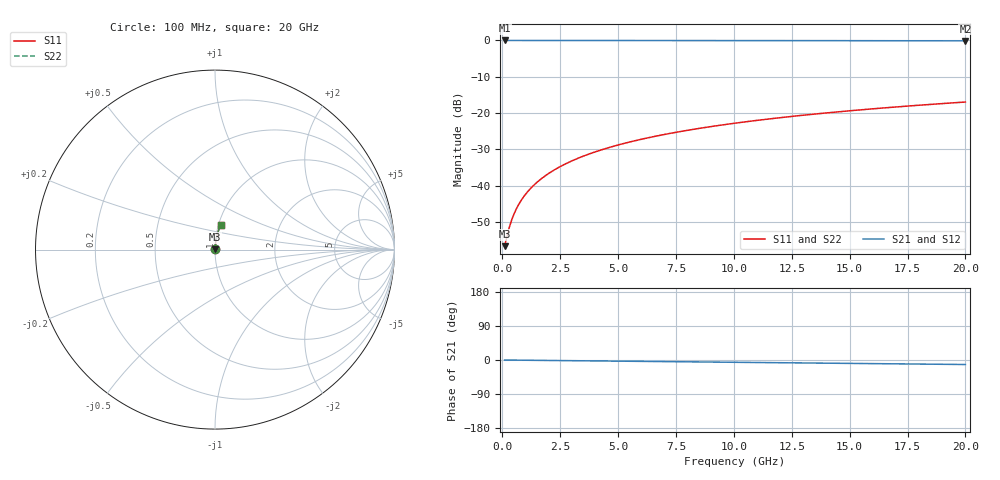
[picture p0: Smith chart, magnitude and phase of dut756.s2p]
! Touchstone file exported from HFSS 2026.1.0
!  File:  C:/ffzhzh/LocalFiles/Ansys_Project_Files/temp_train_BSMRDL_756_1783168971_55132.aedt
!  Generated:  08:44:04 PM Jul  4, 2026
!  Design:  BSMRDL
!  Project:  temp_train_BSMRDL_756_1783168971_55132
! Variables:
!  h_bsmrdl = 2.07um
!  h_ox = 20um
!  h_rdl = 5um
!  h_sub = 80um
!  h_tmrdl = 5um
!  h_tsv = 80um
!  h_via = 3um
!  l_bsmrdl = 108.48um
!  l_sub = 508.48um
!  l_tmrdl = 200um
!  m_sub = 200um
!  pitch = 54.67um
!  r_tsv = 6um
!  s_tmrdl = 10um
!  w_bsmrdl = 22.7um
!  w_sub = 500um
!  w_tmrdl = 12um
!  x_tsv_center1 = 206um
!  x_tsv_center2 = 337.18um
!  x_tsv_center3 = 549.18um
!  x_tsv_center4 = 680.36um
!  x_tsv_center5 = 892.36um
!  x_tsv_center6 = 1023.54um
# GHz S MA R 50.000000
! Terminal data exported
! Port[1] = BSM_RDL1_1_T1
! Port[2] = BSM_RDL1_1_T2
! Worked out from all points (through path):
!   200 points, 100 MHz to 20 GHz, reference 50 ohm
!   highest |S21| = -0.01 dB at 100 MHz (marker M1); lowest = -0.1 dB at 20 GHz (marker M2)
!   group delay of S21, straight-line fit = 1.65 ps
!   lowest |S11| = -56.6 dB at 100 MHz (marker M3), VSWR 1.00, Z = 50.1 + j0.0781 ohm
!   |S11| at or under -10 dB: start of sweep to end of sweep
!   |S22| runs from -56.6 to -16.9 dB; largest |S21 - S12| = 4e-15
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0.1  0.001481 31.7  0.9987 -0.1  0.9987 -0.1  0.001481 31.7
! Gamma 0 0 0 0
! Port Impedance 50 0 50 0
0.2  0.002013 50.5  0.9987 -0.1  0.9987 -0.1  0.002013 50.5
0.3  0.002664 60.5  0.9987 -0.2  0.9987 -0.2  0.002664 60.5
0.4  0.003356 66.2  0.9987 -0.3  0.9987 -0.3  0.003356 66.2
0.5  0.004064 69.9  0.9986 -0.3  0.9986 -0.3  0.004064 69.9
0.6  0.004775 72.5  0.9986 -0.4  0.9986 -0.4  0.004775 72.5
0.8  0.006201 75.9  0.9985 -0.5  0.9985 -0.5  0.006201 75.9
1.1  0.00834 78.8  0.9984 -0.7  0.9984 -0.7  0.00834 78.8
1.5  0.0112 81.0  0.9984 -0.9  0.9984 -0.9  0.0112 81.0
1.8  0.01335 82.0  0.9983 -1.1  0.9983 -1.1  0.01335 82.0
2.1  0.01551 82.7  0.9983 -1.3  0.9983 -1.3  0.01551 82.7
2.7  0.01984 83.6  0.9981 -1.6  0.9981 -1.6  0.01984 83.6
3.5  0.02563 84.1  0.998 -2.1  0.998 -2.1  0.02563 84.1
4.2  0.03069 84.2  0.9978 -2.5  0.9978 -2.5  0.03069 84.2
5  0.03647 84.2  0.9975 -3.0  0.9975 -3.0  0.03647 84.2
5.9  0.04297 84.0  0.9972 -3.6  0.9972 -3.6  0.04297 84.0
6.8  0.04946 83.7  0.9969 -4.1  0.9969 -4.1  0.04946 83.7
8.3  0.06024 83.1  0.9961 -5.0  0.9961 -5.0  0.06024 83.1
10.1  0.0731 82.2  0.9951 -6.1  0.9951 -6.1  0.0731 82.2
13.4  0.09647 80.5  0.9928 -8.0  0.9928 -8.0  0.09647 80.5
16.7  0.1195 78.7  0.99 -10.0  0.99 -10.0  0.1195 78.7
20  0.1422 76.8  0.9867 -11.9  0.9867 -11.9  0.1422 76.8
